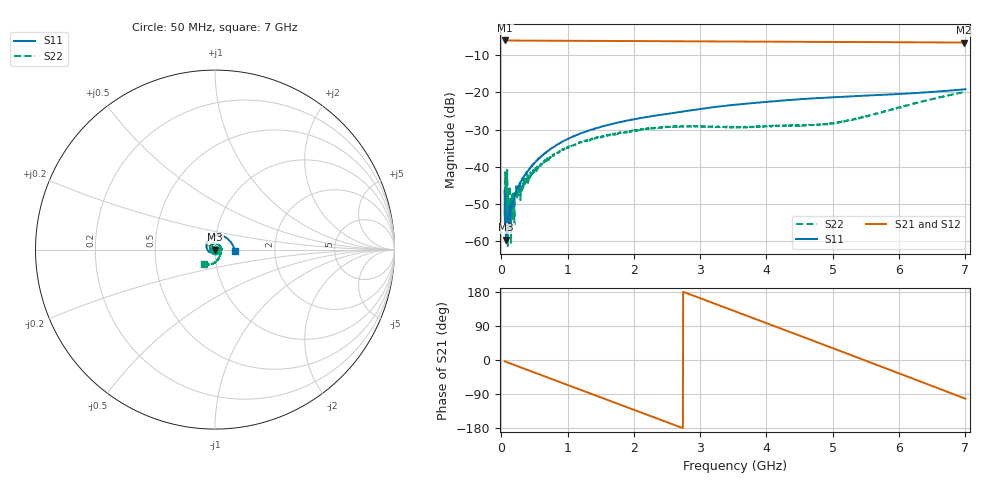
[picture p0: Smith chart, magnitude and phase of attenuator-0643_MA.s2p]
! Params: S11 S21 S12 S22
! Start frequency: 0.050000000 GHz
! Stop frequency:  7.000000000 GHz
! Points: 1601
# HZ S MA R 50
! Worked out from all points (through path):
!   1601 points, 50 MHz to 7 GHz, reference 50 ohm
!   highest |S21| = -6.01 dB at 58.69 MHz (marker M1); lowest = -6.6 dB at 6.974 GHz (marker M2)
!   group delay of S21, straight-line fit = 183 ps
!   lowest |S11| = -59.6 dB at 71.72 MHz (marker M3), VSWR 1.00, Z = 50 - j0.102 ohm
!   |S11| at or under -10 dB: start of sweep to end of sweep
!   |S22| runs from -61.3 to -19.7 dB; largest |S21 - S12| = 0.0015
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5e7  0.004818 -122.2  0.4996 -3.4  0.4994 -3.3  0.002243 -117.1
5.86875e7  0.001995 -61.1  0.5005 -3.9  0.5005 -4.0  0.0085 149.5
7.171875e7  0.001045 -101.8  0.5002 -4.8  0.5 -4.8  0.004083 -100.3
9.34375e7  0.00193 -63.0  0.4998 -6.3  0.4995 -6.2  0.004982 -87.2
1.02125e8  0.002186 -89.0  0.4989 -6.8  0.4995 -6.8  0.005056 -47.3
1.108125e8  0.002027 -104.6  0.5 -7.4  0.4994 -7.4  0.00321 -35.7
1.672812e8  0.003139 -101.0  0.4991 -11.2  0.4991 -11.2  0.003923 -51.3
2.498125e8  0.005025 -95.2  0.4986 -16.6  0.4988 -16.6  0.004931 -61.5
4.84375e8  0.01084 -107.9  0.4976 -32.1  0.4979 -32.0  0.009115 -102.4
7.884375e8  0.01848 -123.6  0.4961 -51.9  0.4962 -52.0  0.01406 -126.4
1.209781e9  0.02845 -145.1  0.4947 -79.6  0.4947 -79.6  0.02162 -153.7
1.748406e9  0.03928 -170.8  0.4922 -115.0  0.4919 -114.9  0.02769 167.8
2.369562e9  0.04946 163.0  0.4894 -155.6  0.4895 -155.6  0.03348 126.1
2.929906e9  0.05871 140.4  0.4871 167.6  0.4873 167.5  0.03545 89.2
3.525e9  0.06839 118.5  0.4838 128.5  0.4841 128.4  0.03391 46.0
4.111406e9  0.07609 96.6  0.4816 89.9  0.4817 89.8  0.03546 5.8
4.684781e9  0.08321 76.0  0.4791 52.0  0.4792 52.0  0.03629 -23.8
5.271188e9  0.08865 55.6  0.4768 13.2  0.477 13.1  0.04278 -50.7
5.844562e9  0.09384 36.3  0.4747 -25.0  0.4746 -25.1  0.05697 -73.2
6.439656e9  0.1009 16.2  0.4719 -64.7  0.4716 -64.8  0.07939 -99.3
6.973938e9  0.1099 -2.1  0.4685 -100.4  0.4688 -100.6  0.1023 -126.4
7e9  0.1104 -3.0  0.4691 -102.1  0.4692 -102.3  0.1031 -128.0
